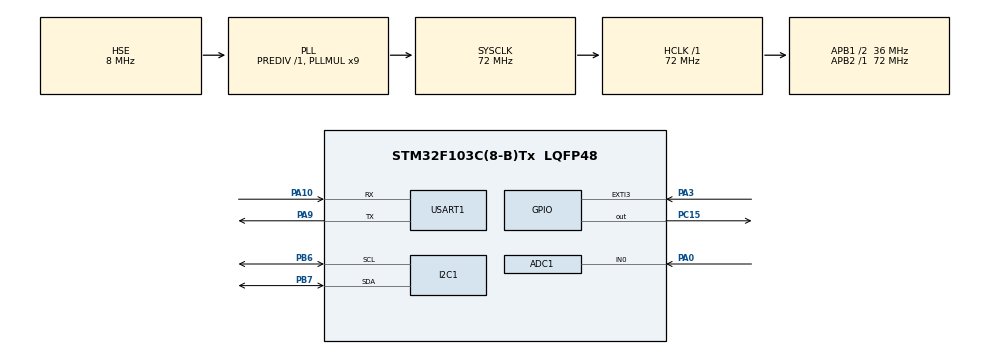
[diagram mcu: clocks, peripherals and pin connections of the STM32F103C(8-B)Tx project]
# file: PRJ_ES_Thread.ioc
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ADC1.Channel-0\#ChannelRegularConversion=ADC_CHANNEL_0
ADC1.NbrOfConversionFlag=1
ADC1.Rank-0\#ChannelRegularConversion=1
ADC1.SamplingTime-0\#ChannelRegularConversion=ADC_SAMPLETIME_1CYCLE_5
ADC1.master=1
FREERTOS.BinarySemaphores01=BinarySem_TX_UART,Dynamic,NULL;BinarySem_IT_UART,Dynamic,NULL;BinarySem_IT_BUTTON,Dynamic,NULL
FREERTOS.CountingSemaphores01=CountingSem_Mode2,5,Dynamic,NULL
FREERTOS.Queues01=myQueue01,16,myQueueData_StructType,0,Dynamic,NULL,NULL
FREERTOS.Tasks01=myTask01,25,256,StartTask01,Default,NULL,Dynamic,NULL,NULL;myTask02,26,256,StartTask02,Default,NULL,Dynamic,NULL,NULL;myTask03,24,900,StartTask03,Default,NULL,Dynamic,NULL,NULL;myTask04,33,256,StartTask04,Default,NULL,Dynamic,NULL,NULL;myTask05,32,256,StartTask05,Default,NULL,Dynamic,NULL,NULL;myTask06,34,256,StartTask06,Default,NULL,Dynamic,NULL,NULL;myTask07,39,128,StartTask07,Default,NULL,Dynamic,NULL,NULL;myTask08,8,128,StartTask08,Default,NULL,Dynamic,NULL,NULL
FREERTOS.configTOTAL_HEAP_SIZE=11300
Mcu.Family=STM32F1
Mcu.Name=STM32F103C(8-B)Tx
Mcu.Package=LQFP48
NVIC.ADC1_2_IRQn=true\:6\:0\:true\:false\:true\:true\:true\:true\:true
NVIC.EXTI3_IRQn=true\:6\:0\:true\:false\:true\:true\:true\:true\:true
NVIC.I2C1_ER_IRQn=true\:5\:0\:true\:false\:true\:true\:true\:true\:true
NVIC.I2C1_EV_IRQn=true\:5\:0\:true\:false\:true\:true\:true\:true\:true
NVIC.PriorityGroup=NVIC_PRIORITYGROUP_4
NVIC.TIM1_UP_IRQn=true\:15\:0\:false\:false\:true\:false\:false\:true\:true
NVIC.TIM2_IRQn=true\:5\:0\:true\:false\:true\:true\:true\:true\:true
NVIC.TimeBase=TIM1_UP_IRQn
NVIC.TimeBaseIP=TIM1
NVIC.USART1_IRQn=true\:5\:0\:true\:false\:true\:true\:true\:true\:true
PA0-WKUP.Signal=ADCx_IN0
PA10.Mode=Asynchronous
PA10.Signal=USART1_RX
PA3.GPIO_ModeDefaultEXTI=GPIO_MODE_IT_FALLING
PA3.GPIO_PuPd=GPIO_PULLUP
PA3.Signal=GPXTI3
PA9.Mode=Asynchronous
PA9.Signal=USART1_TX
PB6.Mode=I2C
PB6.Signal=I2C1_SCL
PB7.Mode=I2C
PB7.Signal=I2C1_SDA
PC15-OSC32_OUT.Signal=GPIO_Output
PD0-OSC_IN.Mode=HSE-External-Oscillator
PD0-OSC_IN.Signal=RCC_OSC_IN
PD1-OSC_OUT.Mode=HSE-External-Oscillator
PD1-OSC_OUT.Signal=RCC_OSC_OUT
ProjectManager.HeapSize=0x200
ProjectManager.StackSize=0x400
ProjectManager.TargetToolchain=MDK-ARM V5.32
RCC.ADCPresc=RCC_ADCPCLK2_DIV6
RCC.AHBFreq_Value=72000000
RCC.APB1CLKDivider=RCC_HCLK_DIV2
RCC.APB1Freq_Value=36000000
RCC.APB1TimFreq_Value=72000000
RCC.APB2Freq_Value=72000000
RCC.APB2TimFreq_Value=72000000
RCC.HCLKFreq_Value=72000000
RCC.PLLMUL=RCC_PLL_MUL9
RCC.PLLSourceVirtual=RCC_PLLSOURCE_HSE
RCC.SYSCLKFreq_VALUE=72000000
RCC.SYSCLKSource=RCC_SYSCLKSOURCE_PLLCLK
RCC.USBFreq_Value=72000000
SH.ADCx_IN0.0=ADC1_IN0,IN0
TIM2.Prescaler=71
USART1.VirtualMode=VM_ASYNC
VP_FREERTOS_VS_CMSIS_V2.Mode=CMSIS_V2
VP_SYS_VS_ND.Mode=No_Debug
VP_SYS_VS_tim1.Mode=TIM1
VP_TIM2_VS_ClockSourceINT.Mode=Internal
board=custom

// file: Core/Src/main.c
/* USER CODE BEGIN Header */
/**
  ******************************************************************************
  * @file           : main.c
  * @brief          : Main program body
  ******************************************************************************
  * @attention
  *
  * Copyright (c) 2023 STMicroelectronics.
  * All rights reserved.
  *
  * This software is licensed under terms that can be found in the LICENSE file
  * in the root directory of this software component.
  * If no LICENSE file comes with this software, it is provided AS-IS.
  *
  ******************************************************************************
  */
/* USER CODE END Header */
#include "main.h"
#include "cmsis_os.h"

/* USER CODE BEGIN Includes */
	#include "i2c-lcd.h"
	#include "dht.h"
	#include "delay_timer.h"
	#include <stdio.h>
	#include "string.h"
	//#define DEBUG0
/* USER CODE END Includes */

ADC_HandleTypeDef hadc1;

I2C_HandleTypeDef hi2c1;

TIM_HandleTypeDef htim2;

UART_HandleTypeDef huart1;

/* Definitions for myTask01 */
osThreadId_t myTask01Handle;
const osThreadAttr_t myTask01_attributes = {
  .name = "myTask01",
  .stack_size = 256 * 4,
  .priority = (osPriority_t) osPriorityNormal1,
};
/* Definitions for myTask02 */
osThreadId_t myTask02Handle;
const osThreadAttr_t myTask02_attributes = {
  .name = "myTask02",
  .stack_size = 256 * 4,
  .priority = (osPriority_t) osPriorityNormal2,
};
/* Definitions for myTask03 */
osThreadId_t myTask03Handle;
const osThreadAttr_t myTask03_attributes = {
  .name = "myTask03",
  .stack_size = 900 * 4,
  .priority = (osPriority_t) osPriorityNormal,
};
/* Definitions for myTask04 */
osThreadId_t myTask04Handle;
const osThreadAttr_t myTask04_attributes = {
  .name = "myTask04",
  .stack_size = 256 * 4,
  .priority = (osPriority_t) osPriorityAboveNormal1,
};
/* Definitions for myTask05 */
osThreadId_t myTask05Handle;
const osThreadAttr_t myTask05_attributes = {
  .name = "myTask05",
  .stack_size = 256 * 4,
  .priority = (osPriority_t) osPriorityAboveNormal,
};
/* Definitions for myTask06 */
osThreadId_t myTask06Handle;
const osThreadAttr_t myTask06_attributes = {
  .name = "myTask06",
  .stack_size = 256 * 4,
  .priority = (osPriority_t) osPriorityAboveNormal2,
};
/* Definitions for myTask07 */
osThreadId_t myTask07Handle;
const osThreadAttr_t myTask07_attributes = {
  .name = "myTask07",
  .stack_size = 128 * 4,
  .priority = (osPriority_t) osPriorityAboveNormal7,
};
/* Definitions for myTask08 */
osThreadId_t myTask08Handle;
const osThreadAttr_t myTask08_attributes = {
  .name = "myTask08",
  .stack_size = 128 * 4,
  .priority = (osPriority_t) osPriorityAboveNormal6,
};
/* Definitions for myQueue01 */
osMessageQueueId_t myQueue01Handle;
const osMessageQueueAttr_t myQueue01_attributes = {
  .name = "myQueue01"
};
/* Definitions for BinarySem_TX_UART */
osSemaphoreId_t BinarySem_TX_UARTHandle;
const osSemaphoreAttr_t BinarySem_TX_UART_attributes = {
  .name = "BinarySem_TX_UART"
};
/* Definitions for BinarySem_IT_UART */
osSemaphoreId_t BinarySem_IT_UARTHandle;
const osSemaphoreAttr_t BinarySem_IT_UART_attributes = {
  .name = "BinarySem_IT_UART"
};
/* Definitions for BinarySem_IT_BUTTON */
osSemaphoreId_t BinarySem_IT_BUTTONHandle;
const osSemaphoreAttr_t BinarySem_IT_BUTTON_attributes = {
  .name = "BinarySem_IT_BUTTON"
};
/* Definitions for CountingSem_Mode2 */
osSemaphoreId_t CountingSem_Mode2Handle;
const osSemaphoreAttr_t CountingSem_Mode2_attributes = {
  .name = "CountingSem_Mode2"
};

void SystemClock_Config(void);
static void MX_GPIO_Init(void);
static void MX_USART1_UART_Init(void);
static void MX_ADC1_Init(void);
static void MX_I2C1_Init(void);
static void MX_TIM2_Init(void);
void StartTask01(void *argument);
void StartTask02(void *argument);
void StartTask03(void *argument);
void StartTask04(void *argument);
void StartTask05(void *argument);
void StartTask06(void *argument);
void StartTask07(void *argument);
void StartTask08(void *argument);

/* USER CODE BEGIN PFP */
typedef struct
{
	__IO uint16_t IO_id;
	__IO uint16_t IO_data;
} myQueueData_StructType;
/* USER CODE END PFP */

/* USER CODE BEGIN 0 */
	//::::::::::::::::::::::::::::::::::::::::::: Khai bao lien quan toi UART-Receive
	#define MODE1 "M1:"
	#define MODE2 "M2:"
	#define THRESHOLD "TH:"
	#define key_DHT11_TEMP "TEMP_"
	#define key_DHT11_HUM "HUM_"
	#define key_MQ2_GAS "GAS_"
	uint8_t DATA_RX_1char;	//1 ki tu nhan ve
	uint8_t flag_isr_uart = 0;
	uint8_t index_uart = 0;
	char DATA_RX[50];		//Chuoi ki tu nhan ve

	//::::::::::::::::::::::::::::::::::::::::::: Khai bao cac tham so UART-Transmit
	char DATA_TX[50];		 	 //Chuoi ki tu gui di
	uint16_t T_display_m1 = 3000;    //MODE1: chu ky hien thi ca 3 gia tri len may tinh  [ms]
	uint8_t MODE_DISPLAY = 0;   //MODE_DISPLAY = 0 (MODE1) ... MODE_DISPLAY = 1 (MODE2) [not used]
	//int T_display_m2_DHT11 = 0; //MODE2: chu ky hien thi gia tri nhiet do & do am   [ms]
	//int T_display_m2_MQ2 = 0;   //MODE2: chu ky hien thi gia tri khi gas	[ms]

	//::::::::::::::::::::::::::::::::::::::::::: Debug
	unsigned long CheckTime_start = 0;

	//::::::::::::::::::::::::::::::::::::::::::::: Khai bao bien luu tru gia tri
	float TEMP = 0;
	uint16_t HUM  = 0, GAS  = 0;
	uint16_t HUM_threshold  = 50, TEMP_threshold = 20, GAS_threshold = 1000;
	char notice[20];

	//-------------------------------------------------------------------------------
	//::::::::::::::::::::::::::::::::::::::::::::: Khai bao bien thu vien LCD va DHT11
	DHT_HandleTypeDef DHT11;
	char ndo[30];
	char doamgas[30];

	//::: TASK -- Truyen du lieu [ko can quan tam]
	void SendData()
	{
		//unsigned long myTick = HAL_GetTick();
		//int SIZE_DATA_TX = sprintf(DATA_TX, "\n[%ld]\n \t TEMP: %.2f*C || HUMD: %d % || GAS:%d %", myTick, 25.02, 85, 10);
		//HAL_UART_Transmit(&huart1, (uint8_t*)DATA_TX, SIZE_DATA_TX, 500);
		//HAL_Delay(500);
		//Thoi gian thuc thi C = 505ms ... Neu khong xet delay(500) thi Ccommand = 5ms
	}

//::: ISR UART Callback : /* Thoi gian xu ly het < 0ms*/

	void HAL_UART_RxCpltCallback(UART_HandleTypeDef * huart)
	{
		//Nhan ki tu xuong dong thi bat co de xu ly chuoi vua duoc nhan
		if(DATA_RX_1char == '\n')
		{
			DATA_RX[index_uart] = '\0';
			//flag_isr_uart = 1;
			osSemaphoreRelease(BinarySem_IT_UARTHandle); //Semaphore: nhả semaphore thực thi ngắt - Task7
		}
		//Chua nhan het mot chuoi
		else
		{
			DATA_RX[index_uart] = DATA_RX_1char;
			index_uart++;
		}
		HAL_UART_Receive_IT(&huart1, &DATA_RX_1char, 1);
	}
	void GetValue(char *pCmd, uint16_t *get_data)
	{
		int T = 0;
		uint8_t flag = 0;
		while(1)
		{
			if(*pCmd >= '0' && *pCmd <= '9') //Chuyen gia tri lay tu may tinh ve kieu so nguyen
			{
				T *= 10;
				T += (*pCmd - '0');
				flag = 1;
			}
			else
				if(*pCmd == ' ');
			else
				if(*pCmd == ';') //Ket thuc chuoi
			{
				if(flag == 1)
				{
					*get_data = T;
					flag = 0;
					T = 0;
				}
				break;
			}
			else{
				// Neu chua cac ki tu khac la loi, thoat khoi vong lap While(1)
				// ERROR!
				break;
			}
			pCmd++; //Tang con tro de kiem tra ki tu tiep theo
			}
	}

//::: [TASK] -- Xu ly chuoi nhan ve /*	Thoi gian xu ly het C = 6ms */
	/*
	void ISR_UART_HandleRxData()
	{
		if(flag_isr_uart == 1)  //Ktra flag_isr_uart = 1 thi moi thuc thi task nay
		{
			#ifdef DEBUG0
				CheckTime_start = HAL_GetTick();
			#endif
			char *pCmd1 = strstr(DATA_RX, MODE1); //Kiem tra chuoi nhan ve co chua dau hieu Mode 1 khong
			char *pCmd2 = strstr(DATA_RX, MODE2); //Kiem tra chuoi nhan ve co chua dau hieu Mode 2 khong
			//------------------------------------ TH1: Chuoi nhan ve la MODE1
			if(pCmd1 != NULL)
			{
				pCmd1 += strlen(MODE1); //Tro toi chu so dau tien cua "Chu ky truyen du lieu len may tinh"
				GetValue(pCmd1, &T_display_m1);
				#ifdef DEBUG0
					int SIZE_DATA_TX = sprintf(DATA_TX, "\n Update: T_display_m1: %dms\n", T_display_m1); \
					HAL_UART_Transmit(&huart1, (uint8_t*)DATA_TX, SIZE_DATA_TX, 500);
				#endif
			}

			//------------------------------------ TH2: Chuoi nhan ve la MODE2
			if(pCmd2 != NULL)
			{
				pCmd2 += strlen(MODE2); //Tro toi ki tu sau dau ':'
				if(strstr(DATA_RX, key_DHT11) != NULL)
				{
					pCmd2 += strlen(key_DHT11); //Tro toi chu so dau tien cua chu ky truyen du lieu DHT11
					GetValue(pCmd2, &T_display_m2_DHT11);
					#ifdef DEBUG0
						int SIZE_DATA_TX = sprintf(DATA_TX, "\n Update: T_display_m2_DHT11: %dms\n", T_display_m2_DHT11); \
						HAL_UART_Transmit(&huart1, (uint8_t*)DATA_TX, SIZE_DATA_TX, 500);
					#endif
				}
				if( strstr(DATA_RX, key_MQ2) != NULL)
				{
					pCmd2 += strlen(key_MQ2); // Tro toi chu so dau tien cua chu ky truyen du lieu MQ2
					GetValue(pCmd2, &T_display_m2_MQ2);
					#ifdef DEBUG0
						int SIZE_DATA_TX = sprintf(DATA_TX, "\n Update: T_display_m2_MQ2: %dms\n", T_display_m2_MQ2); \
						HAL_UART_Transmit(&huart1, (uint8_t*)DATA_TX, SIZE_DATA_TX, 500);
					#endif
				}
			}

			//------------------------------------ Ket thuc xu ly ISR
			index_uart = 0;
			flag_isr_uart = 0;
			#ifdef DEBUG0
				int SIZE_DATA_TX = sprintf(DATA_TX, "\n ISR_UART_HandleRxData() begin:[%ld] & end: [%d] => Total time = %d\n"\
										  ,CheckTime_start,HAL_GetTick(), HAL_GetTick() - (int)CheckTime_start); \
				HAL_UART_Transmit(&huart1, (uint8_t*)DATA_TX, SIZE_DATA_TX, 500);
			#endif
		}
	}
	*/

//::::
void Task1 (void)
{
//	CheckTime_start = HAL_GetTick();
//	int SIZE_DATA_TX = sprintf(DATA_TX, "\nbegin:[%ld]", CheckTime_start);
//	HAL_UART_Transmit(&huart1, (uint8_t*)DATA_TX, SIZE_DATA_TX, 300);
	DHT_ReadTempHum(&DHT11);
	TEMP = DHT11.Temp;
	HUM = DHT11.Humi;
//	SIZE_DATA_TX = sprintf(DATA_TX, "\ntotal:[%ld]\n", HAL_GetTick()- CheckTime_start);
//	HAL_UART_Transmit(&huart1, (uint8_t*)DATA_TX, SIZE_DATA_TX, 300);
}

void Task2(void)
{
//	CheckTime_start = HAL_GetTick();
//	int SIZE_DATA_TX = sprintf(DATA_TX, "\nbegin:[%ld]", CheckTime_start);
//	HAL_UART_Transmit(&huart1, (uint8_t*)DATA_TX, SIZE_DATA_TX, 300);

	HAL_ADCEx_Calibration_Start(&hadc1);
  HAL_ADC_Start(&hadc1);
  HAL_ADC_PollForConversion(&hadc1,1000);
  GAS = HAL_ADC_GetValue(&hadc1);
  HAL_ADC_Stop(&hadc1);

//	SIZE_DATA_TX = sprintf(DATA_TX, "\ntotal:[%ld]\n", HAL_GetTick()- CheckTime_start);
//	HAL_UART_Transmit(&huart1, (uint8_t*)DATA_TX, SIZE_DATA_TX, 300);
}

void Task3(void)
{
	sprintf(ndo, "Tem:%3.1f*C", TEMP);
	sprintf(doamgas, "Hum:%d Gas:%d ", HUM, GAS);
  lcd_put_cur(0, 0);
	lcd_send_string(ndo);
	lcd_put_cur(1, 0);
	lcd_send_string(doamgas);
}
//----------------------------------------------------------------------------------------------
void HAL_GPIO_EXTI_Callback(uint16_t GPIO_Pin)
{
  static unsigned long tick_button = 0;
  if(HAL_GetTick() - tick_button >= 1000)
  {
	tick_button = HAL_GetTick();
	osSemaphoreRelease(BinarySem_IT_BUTTONHandle);
  }
}

/* USER CODE END 0 */

int main(void)
{

  /* MCU Configuration--------------------------------------------------------*/

  /* Reset of all peripherals, Initializes the Flash interface and the Systick. */
  HAL_Init();

  /* Configure the system clock */
  SystemClock_Config();

  /* Initialize all configured peripherals */
  MX_GPIO_Init();
  MX_USART1_UART_Init();
  MX_ADC1_Init();
  MX_I2C1_Init();
  MX_TIM2_Init();
  /* USER CODE BEGIN 2 */
	HAL_UART_Receive_IT(&huart1, &DATA_RX_1char, 1);
	lcd_init();
	DHT_Init(&DHT11, &htim2, GPIOC, GPIO_PIN_15);

  /* USER CODE END 2 */

  /* Init scheduler */
  osKernelInitialize();

  /* Create the semaphores(s) */
  /* creation of BinarySem_TX_UART */
  BinarySem_TX_UARTHandle = osSemaphoreNew(1, 1, &BinarySem_TX_UART_attributes);

  /* creation of BinarySem_IT_UART */
  BinarySem_IT_UARTHandle = osSemaphoreNew(1, 0, &BinarySem_IT_UART_attributes);

  /* creation of BinarySem_IT_BUTTON */
  BinarySem_IT_BUTTONHandle = osSemaphoreNew(1, 0, &BinarySem_IT_BUTTON_attributes);

  /* creation of CountingSem_Mode2 */
  CountingSem_Mode2Handle = osSemaphoreNew(5, 0, &CountingSem_Mode2_attributes);

  /* Create the queue(s) */
  /* creation of myQueue01 */
  myQueue01Handle = osMessageQueueNew (16, sizeof(myQueueData_StructType), &myQueue01_attributes);

  /* Create the thread(s) */
  /* creation of myTask01 */
  myTask01Handle = osThreadNew(StartTask01, NULL, &myTask01_attributes);

  /* creation of myTask02 */
  myTask02Handle = osThreadNew(StartTask02, NULL, &myTask02_attributes);

  /* creation of myTask03 */
  myTask03Handle = osThreadNew(StartTask03, NULL, &myTask03_attributes);

  /* creation of myTask04 */
  myTask04Handle = osThreadNew(StartTask04, NULL, &myTask04_attributes);

  /* creation of myTask05 */
  myTask05Handle = osThreadNew(StartTask05, NULL, &myTask05_attributes);

  /* creation of myTask06 */
  myTask06Handle = osThreadNew(StartTask06, NULL, &myTask06_attributes);

  /* creation of myTask07 */
  myTask07Handle = osThreadNew(StartTask07, NULL, &myTask07_attributes);

  /* creation of myTask08 */
  myTask08Handle = osThreadNew(StartTask08, NULL, &myTask08_attributes);

  /* Start scheduler */
  osKernelStart();
  /* We should never get here as control is now taken by the scheduler */
  /* Infinite loop */
  while (1)
  {

    /* USER CODE BEGIN 3 */
		//ISR_UART_HandleRxData();
  }
  /* USER CODE END 3 */
}

void SystemClock_Config(void)
{
  RCC_OscInitTypeDef RCC_OscInitStruct = {0};
  RCC_ClkInitTypeDef RCC_ClkInitStruct = {0};
  RCC_PeriphCLKInitTypeDef PeriphClkInit = {0};

  /** Initializes the RCC Oscillators according to the specified parameters
  * in the RCC_OscInitTypeDef structure.
  */
  RCC_OscInitStruct.OscillatorType = RCC_OSCILLATORTYPE_HSE;
  RCC_OscInitStruct.HSEState = RCC_HSE_ON;
  RCC_OscInitStruct.HSEPredivValue = RCC_HSE_PREDIV_DIV1;
  RCC_OscInitStruct.HSIState = RCC_HSI_ON;
  RCC_OscInitStruct.PLL.PLLState = RCC_PLL_ON;
  RCC_OscInitStruct.PLL.PLLSource = RCC_PLLSOURCE_HSE;
  RCC_OscInitStruct.PLL.PLLMUL = RCC_PLL_MUL9;
  if (HAL_RCC_OscConfig(&RCC_OscInitStruct) != HAL_OK)
  {
    Error_Handler();
  }

  /** Initializes the CPU, AHB and APB buses clocks
  */
  RCC_ClkInitStruct.ClockType = RCC_CLOCKTYPE_HCLK|RCC_CLOCKTYPE_SYSCLK
                              |RCC_CLOCKTYPE_PCLK1|RCC_CLOCKTYPE_PCLK2;
  RCC_ClkInitStruct.SYSCLKSource = RCC_SYSCLKSOURCE_PLLCLK;
  RCC_ClkInitStruct.AHBCLKDivider = RCC_SYSCLK_DIV1;
  RCC_ClkInitStruct.APB1CLKDivider = RCC_HCLK_DIV2;
  RCC_ClkInitStruct.APB2CLKDivider = RCC_HCLK_DIV1;

  if (HAL_RCC_ClockConfig(&RCC_ClkInitStruct, FLASH_LATENCY_2) != HAL_OK)
  {
    Error_Handler();
  }
  PeriphClkInit.PeriphClockSelection = RCC_PERIPHCLK_ADC;
  PeriphClkInit.AdcClockSelection = RCC_ADCPCLK2_DIV6;
  if (HAL_RCCEx_PeriphCLKConfig(&PeriphClkInit) != HAL_OK)
  {
    Error_Handler();
  }
}

static void MX_ADC1_Init(void)
{

  ADC_ChannelConfTypeDef sConfig = {0};

  /** Common config
  */
  hadc1.Instance = ADC1;
  hadc1.Init.ScanConvMode = ADC_SCAN_DISABLE;
  hadc1.Init.ContinuousConvMode = DISABLE;
  hadc1.Init.DiscontinuousConvMode = DISABLE;
  hadc1.Init.ExternalTrigConv = ADC_SOFTWARE_START;
  hadc1.Init.DataAlign = ADC_DATAALIGN_RIGHT;
  hadc1.Init.NbrOfConversion = 1;
  if (HAL_ADC_Init(&hadc1) != HAL_OK)
  {
    Error_Handler();
  }

  /** Configure Regular Channel
  */
  sConfig.Channel = ADC_CHANNEL_0;
  sConfig.Rank = ADC_REGULAR_RANK_1;
  sConfig.SamplingTime = ADC_SAMPLETIME_1CYCLE_5;
  if (HAL_ADC_ConfigChannel(&hadc1, &sConfig) != HAL_OK)
  {
    Error_Handler();
  }

}

static void MX_I2C1_Init(void)
{

  hi2c1.Instance = I2C1;
  hi2c1.Init.ClockSpeed = 100000;
  hi2c1.Init.DutyCycle = I2C_DUTYCYCLE_2;
  hi2c1.Init.OwnAddress1 = 0;
  hi2c1.Init.AddressingMode = I2C_ADDRESSINGMODE_7BIT;
  hi2c1.Init.DualAddressMode = I2C_DUALADDRESS_DISABLE;
  hi2c1.Init.OwnAddress2 = 0;
  hi2c1.Init.GeneralCallMode = I2C_GENERALCALL_DISABLE;
  hi2c1.Init.NoStretchMode = I2C_NOSTRETCH_DISABLE;
  if (HAL_I2C_Init(&hi2c1) != HAL_OK)
  {
    Error_Handler();
  }

}

static void MX_TIM2_Init(void)
{

  TIM_ClockConfigTypeDef sClockSourceConfig = {0};
  TIM_MasterConfigTypeDef sMasterConfig = {0};

  htim2.Instance = TIM2;
  htim2.Init.Prescaler = 71;
  htim2.Init.CounterMode = TIM_COUNTERMODE_UP;
  htim2.Init.Period = 65535;
  htim2.Init.ClockDivision = TIM_CLOCKDIVISION_DIV1;
  htim2.Init.AutoReloadPreload = TIM_AUTORELOAD_PRELOAD_DISABLE;
  if (HAL_TIM_Base_Init(&htim2) != HAL_OK)
  {
    Error_Handler();
  }
  sClockSourceConfig.ClockSource = TIM_CLOCKSOURCE_INTERNAL;
  if (HAL_TIM_ConfigClockSource(&htim2, &sClockSourceConfig) != HAL_OK)
  {
    Error_Handler();
  }
  sMasterConfig.MasterOutputTrigger = TIM_TRGO_RESET;
  sMasterConfig.MasterSlaveMode = TIM_MASTERSLAVEMODE_DISABLE;
  if (HAL_TIMEx_MasterConfigSynchronization(&htim2, &sMasterConfig) != HAL_OK)
  {
    Error_Handler();
  }

}

static void MX_USART1_UART_Init(void)
{

  huart1.Instance = USART1;
  huart1.Init.BaudRate = 115200;
  huart1.Init.WordLength = UART_WORDLENGTH_8B;
  huart1.Init.StopBits = UART_STOPBITS_1;
  huart1.Init.Parity = UART_PARITY_NONE;
  huart1.Init.Mode = UART_MODE_TX_RX;
  huart1.Init.HwFlowCtl = UART_HWCONTROL_NONE;
  huart1.Init.OverSampling = UART_OVERSAMPLING_16;
  if (HAL_UART_Init(&huart1) != HAL_OK)
  {
    Error_Handler();
  }

}

static void MX_GPIO_Init(void)
{
  GPIO_InitTypeDef GPIO_InitStruct = {0};

  /* GPIO Ports Clock Enable */
  __HAL_RCC_GPIOC_CLK_ENABLE();
  __HAL_RCC_GPIOD_CLK_ENABLE();
  __HAL_RCC_GPIOA_CLK_ENABLE();
  __HAL_RCC_GPIOB_CLK_ENABLE();

  /*Configure GPIO pin Output Level */
  HAL_GPIO_WritePin(GPIOC, GPIO_PIN_15, GPIO_PIN_RESET);

  /*Configure GPIO pin : PC15 */
  GPIO_InitStruct.Pin = GPIO_PIN_15;
  GPIO_InitStruct.Mode = GPIO_MODE_OUTPUT_PP;
  GPIO_InitStruct.Pull = GPIO_NOPULL;
  GPIO_InitStruct.Speed = GPIO_SPEED_FREQ_LOW;
  HAL_GPIO_Init(GPIOC, &GPIO_InitStruct);

  /*Configure GPIO pin : PA3 */
  GPIO_InitStruct.Pin = GPIO_PIN_3;
  GPIO_InitStruct.Mode = GPIO_MODE_IT_FALLING;
  GPIO_InitStruct.Pull = GPIO_PULLUP;
  HAL_GPIO_Init(GPIOA, &GPIO_InitStruct);

  /* EXTI interrupt init*/
  HAL_NVIC_SetPriority(EXTI3_IRQn, 6, 0);
  HAL_NVIC_EnableIRQ(EXTI3_IRQn);

}

/* USER CODE BEGIN Header_StartTask01 */
/**
  * @brief  Function: LAY DU LIEU NHIET DO
  * @WCET (Wrost-case execution time): 22 ms
  * @priority		 : 25
  */
/* USER CODE END Header_StartTask01 */
void StartTask01(void *argument)
{
  /* USER CODE BEGIN 5 */
	myQueueData_StructType msg;
  /* Infinite loop */
  for(;;)
  {
		Task1();
		osDelay(5000);
  }
  /*
  	int SIZE_DATA_TX = sprintf(DATA_TX, "\n%s Doc nhiet do, begin [%lu] \n", myTask01_attributes.name, osKernelGetTickCount());
	HAL_UART_Transmit(&huart1, (uint8_t*)DATA_TX, SIZE_DATA_TX, 500);
	*/
	//TEMP += 2;
	//osMessageQueueGet(myQueue01Handle, &msg, 0, osWaitForever);
  /* USER CODE END 5 */
}

/* USER CODE BEGIN Header_StartTask02 */
/**
* @brief Function: LAY DU LIEU DO AM
* @execution time: ? ms
* @priority		 : ?
*/
/* USER CODE END Header_StartTask02 */
void StartTask02(void *argument)
{
  /* USER CODE BEGIN StartTask02 */
  /* Infinite loop */
  for(;;)
  {
		Task2();
		osDelay(6000);
  }
  /* USER CODE END StartTask02 */
}

/* USER CODE BEGIN Header_StartTask03 */
/**
* @brief Function: HIEN THI LCD 16x2
* @execution time: 14 ms
* @priority:
*/
/* USER CODE END Header_StartTask03 */
void StartTask03(void *argument)
{
  /* USER CODE BEGIN StartTask03 */
  /* Infinite loop */
  for(;;)
  {
	Task3();
	osDelay(3000);
  }
  /* USER CODE END StartTask03 */
}

/* USER CODE BEGIN Header_StartTask04 */
/**
* @brief Function: HIEN THI NHIET DO
* @execution time: 4 ms
* @priority		 : 33
*/
/* USER CODE END Header_StartTask04 */
void StartTask04(void *argument)
{
  /* USER CODE BEGIN StartTask04 */
  /* Infinite loop */
  for(;;)
  {
		CheckTime_start = HAL_GetTick();
		if(TEMP > TEMP_threshold) strcpy(notice, "Above threshold");
		else strcpy(notice, "Below threshold");
		int SIZE_DATA_TX = sprintf(DATA_TX, "\n[%ld] \t TEMP: %4.1f*C___Notification: %s ", CheckTime_start, TEMP, notice);
  		if(MODE_DISPLAY == 0)
		{
			osSemaphoreAcquire(BinarySem_TX_UARTHandle, osWaitForever); //Semaphore: Chiem lay semaphore cho phep truyen UART
			HAL_UART_Transmit(&huart1, (uint8_t*)DATA_TX, SIZE_DATA_TX, 500);
			osSemaphoreRelease(BinarySem_TX_UARTHandle);
			//osDelay(T_display_m1);
		}
		else
		{
			osSemaphoreAcquire(CountingSem_Mode2Handle, osWaitForever);
			HAL_UART_Transmit(&huart1, (uint8_t*)DATA_TX, SIZE_DATA_TX, 500);
		}
	osDelay(T_display_m1);
  }
  /* USER CODE END StartTask04 */
}

/* USER CODE BEGIN Header_StartTask05 */
/**
* @brief Function: HIEN THI DO AM
* @execution time: 4  ms
* @priority		 : 32
*/
/* USER CODE END Header_StartTask05 */
void StartTask05(void *argument)
{
  /* USER CODE BEGIN StartTask05 */
  /* Infinite loop */
  for(;;)
  {
	CheckTime_start = HAL_GetTick();
	if(HUM > HUM_threshold)strcpy(notice, "Above threshold");
	else strcpy(notice, "Below threshold");
	int SIZE_DATA_TX = sprintf(DATA_TX, "\n[%ld] \t HUM : %4d%% ___Notification: %s\n", CheckTime_start, HUM, notice );
	if(MODE_DISPLAY == 0)
	{
		osSemaphoreAcquire(BinarySem_TX_UARTHandle, osWaitForever); //Semaphore: Ch�? lấy được semaphore cho phép truy�?n UART
		HAL_UART_Transmit(&huart1, (uint8_t*)DATA_TX, SIZE_DATA_TX, 500);
		osSemaphoreRelease(BinarySem_TX_UARTHandle);
		//osDelay(T_display_m1);
	}
	else
	{
		osSemaphoreAcquire(CountingSem_Mode2Handle, osWaitForever);
		HAL_UART_Transmit(&huart1, (uint8_t*)DATA_TX, SIZE_DATA_TX, 500);
	}
	osDelay(T_display_m1);
  }
  /* USER CODE END StartTask05 */
}

/* USER CODE BEGIN Header_StartTask06 */
/**
* @brief Function: HIEN THI NONG DO KHI GAS
* @execution time: 4 ms
* @priority		 : 34
*/
/* USER CODE END Header_StartTask06 */
void StartTask06(void *argument)
{
  /* USER CODE BEGIN StartTask06 */
  /* Infinite loop */
  for(;;)
  {
			CheckTime_start = HAL_GetTick();
			if(GAS > GAS_threshold)strcpy(notice, "Above threshold");
			else strcpy(notice, "Below threshold");
			int SIZE_DATA_TX = sprintf(DATA_TX, "\n[%ld] \t GAS : %4d  ___Notification: %s ", CheckTime_start, GAS, notice);
		if(MODE_DISPLAY == 0)
		{
			osSemaphoreAcquire(BinarySem_TX_UARTHandle, osWaitForever); //Semaphore: Ch�? lấy được semaphore cho phép truy�?n UART
			HAL_UART_Transmit(&huart1, (uint8_t*)DATA_TX, SIZE_DATA_TX, 500);
			osSemaphoreRelease(BinarySem_TX_UARTHandle);
			//osDelay(T_display_m1);
		}
		else
		{
			osSemaphoreAcquire(CountingSem_Mode2Handle, osWaitForever);
			HAL_UART_Transmit(&huart1, (uint8_t*)DATA_TX, SIZE_DATA_TX, 500);
		}

	osDelay(T_display_m1);
  }
  /* USER CODE END StartTask06 */
}

void StartTask07(void *argument)
{
  /* USER CODE BEGIN StartTask07 */
  /* Infinite loop */
  for(;;)
  {
  		osSemaphoreAcquire(BinarySem_IT_UARTHandle, osWaitForever);
		#ifdef DEBUG0
			CheckTime_start = HAL_GetTick();
		#endif
		char *pCmd1 = strstr(DATA_RX, MODE1); //Kiem tra chuoi nhan ve co chua dau hieu Mode 1 khong
		char *pCmd2 = strstr(DATA_RX, MODE2); //Kiem tra chuoi nhan ve co chua dau hieu Mode 2 khong
		char *pCmd3 = strstr(DATA_RX, THRESHOLD); //Kiem tra chuoi nhan ve co dau hieu THRESHOLD khong
		//------------------------------------ TH1: Chuoi nhan ve la MODE1
		if(pCmd1 != NULL)
		{
			MODE_DISPLAY = 0;
			osSemaphoreRelease(BinarySem_TX_UARTHandle);
			osSemaphoreRelease(CountingSem_Mode2Handle); //Neu ko nha Semaphore co the dan toi truong hop task vua thuc hien mode 2 se treo vi dang cho semaphore counting
			osThreadResume(myTask06Handle);
			osThreadResume(myTask04Handle);
			osThreadResume(myTask05Handle);
			pCmd1 += strlen(MODE1); //Tro toi chu so dau tien cua "Chu ky truyen du lieu len may tinh"
			GetValue(pCmd1, &T_display_m1);
			int SIZE_DATA_TX = sprintf(DATA_TX, "\n"); \
			HAL_UART_Transmit(&huart1, (uint8_t*)DATA_TX, SIZE_DATA_TX, 500);
			#ifdef DEBUG0
				int SIZE_DATA_TX = sprintf(DATA_TX, "\n Update: T_display_m1: %dms\n", T_display_m1); \
				HAL_UART_Transmit(&huart1, (uint8_t*)DATA_TX, SIZE_DATA_TX, 500);
			#endif
		}

		//------------------------------------ TH2: Chuoi nhan ve la MODE2
		if(pCmd2 != NULL)
		{
			MODE_DISPLAY = 1;
			/*MODE2: Che do hien thi TEMP*/
			if( (pCmd2 = strstr(DATA_RX, key_DHT11_TEMP)) != NULL)
			{
				//pCmd2 += strlen(key_DHT11_TEMP); //Tro toi chu so dau tien cua chu ky truyen du lieu DHT11
				//GetValue(pCmd2, &T_display_m2_DHT11);
				osThreadResume(myTask04Handle);
				osThreadSuspend(myTask05Handle);
				osThreadSuspend(myTask06Handle);
				osSemaphoreRelease(CountingSem_Mode2Handle);
				#ifdef DEBUG0
					int SIZE_DATA_TX = sprintf(DATA_TX, "\n Update: DHT11 (TEMP)\n"); \
					HAL_UART_Transmit(&huart1, (uint8_t*)DATA_TX, SIZE_DATA_TX, 500);
				#endif
			}
			//--------------------------------------------------------------------------
			/*MODE2: Che do hien thi HUM*/
			if( (pCmd2 = strstr(DATA_RX, key_DHT11_HUM)) != NULL)
			{

				osThreadResume(myTask05Handle);
				osThreadSuspend(myTask04Handle);
				osThreadSuspend(myTask06Handle);
				osSemaphoreRelease(CountingSem_Mode2Handle);
				#ifdef DEBUG0
					int SIZE_DATA_TX = sprintf(DATA_TX, "\n Update: DHT11 (HUM)\n"); \
					HAL_UART_Transmit(&huart1, (uint8_t*)DATA_TX, SIZE_DATA_TX, 500);
				#endif
			}
			//--------------------------------------------------------------------------
			/*MODE2: Che do hien thi GAS*/
			if( (pCmd2 = strstr(DATA_RX, key_MQ2_GAS)) != NULL)
			{

				osThreadResume(myTask06Handle);
				osThreadSuspend(myTask05Handle);
				osThreadSuspend(myTask04Handle);
				osSemaphoreRelease(CountingSem_Mode2Handle);
				#ifdef DEBUG0
					int SIZE_DATA_TX = sprintf(DATA_TX, "\n Update: MQ2 (GAS)\n"); \
					HAL_UART_Transmit(&huart1, (uint8_t*)DATA_TX, SIZE_DATA_TX, 500);
				#endif
			}
		}
		//-------------------------------- TH3: Chuoi nhan ve de cap nhat nguong
		if(pCmd3 != NULL)
		{
			if( (pCmd3 = strstr(DATA_RX, key_DHT11_TEMP)) != NULL)
			{
				pCmd3 += strlen(key_DHT11_TEMP); //Tro toi chu so dau tien trong chuoi du lieu
				GetValue(pCmd3, &TEMP_threshold);
				#ifdef DEBUG0
					int SIZE_DATA_TX = sprintf(DATA_TX, "\n Update: DHT11 (TEMP) = %d\n",TEMP_threshold); \
					HAL_UART_Transmit(&huart1, (uint8_t*)DATA_TX, SIZE_DATA_TX, 500);
				#endif
			}
			if( (pCmd3 = strstr(DATA_RX, key_DHT11_HUM)) != NULL)
			{
				pCmd3 += strlen(key_DHT11_HUM); //Tro toi chu so dau tien trong chuoi du lieu
				GetValue(pCmd3, &HUM_threshold);
				#ifdef DEBUG0
					int SIZE_DATA_TX = sprintf(DATA_TX, "\n Update: DHT11 (HUM) = %d\n",HUM_threshold); \
					HAL_UART_Transmit(&huart1, (uint8_t*)DATA_TX, SIZE_DATA_TX, 500);
				#endif
			}
			if( (pCmd3 = strstr(DATA_RX, key_MQ2_GAS)) != NULL)
			{
				pCmd3 += strlen(key_MQ2_GAS); //Tro toi chu so dau tien trong chuoi du lieu
				GetValue(pCmd3, &GAS_threshold);
				#ifdef DEBUG0
					int SIZE_DATA_TX = sprintf(DATA_TX, "\n Update: MQ2 (GAS) = %d\n",GAS_threshold); \
					HAL_UART_Transmit(&huart1, (uint8_t*)DATA_TX, SIZE_DATA_TX, 500);
				#endif
			}
		}

		//------------------------------------ Ket thuc xu ly ISR
		index_uart = 0;
		//flag_isr_uart = 0;
		#ifdef DEBUG0
			int SIZE_DATA_TX = sprintf(DATA_TX, "\n ISR_UART_HandleRxData(), end: %ld => Total time = d\n"\
										,HAL_GetTick()-CheckTime_start); \
			HAL_UART_Transmit(&huart1, (uint8_t*)DATA_TX, SIZE_DATA_TX, 500);
		#endif
	//osDelay(1);
  }
  /* USER CODE END StartTask07 */
}

void StartTask08(void *argument)
{
  /* USER CODE BEGIN StartTask08 */
  /* Infinite loop */
  for(;;)
  {
  	osSemaphoreAcquire(BinarySem_IT_BUTTONHandle, osWaitForever);
	if(T_display_m1 >= 5000)
		T_display_m1 = 1000;
	else
		T_display_m1 += 1000;
	/*while(1)
  	{
  		uint8_t sta = HAL_GPIO_ReadPin(GPIOA, GPIO_PIN_3);
		if(sta != btn_filter)
		{
			btn_filter = sta;
			is_debouncing = 1;
			time_deboune = HAL_GetTick();
		}
		if( (is_debouncing == 1) && (HAL_GetTick()-time_deboune >= 15)) //Nguoi ta quy uoc: neu trong khoang thoi gian 15ms btn_filter khong thay doi tuc la button da o trang thai on dinh
		{
			btn_current = btn_filter;  	//--btn_filter da on dinh, co the voi gan btn_current
			is_debouncing = 0;					//--Het trang thai nhieu
		}

		if(btn_current != btn_last)
		{
			if(btn_current == 0) 			//--Press button
			{
				//is_press_timeout = 1;
				//time_startpress_btn = HAL_GetTick();
				//btn_press_callback(); 	//--Ham xu ly nut nhan
				if(T_display_m1 >= 5000) T_display_m1 = 1000;
				else T_display_m1 += 1000;
			}
			btn_last = btn_current; //Ket thuc viec thuc hien chung nang button
			flag_button = 0;
		}

	}*/
	osDelay(1000);
	}

  /* USER CODE END StartTask08 */
}

void HAL_TIM_PeriodElapsedCallback(TIM_HandleTypeDef *htim)
{
  if (htim->Instance == TIM1) {
    HAL_IncTick();
  }
}

void Error_Handler(void)
{
  __disable_irq();
  while (1)
  {
  }
}
